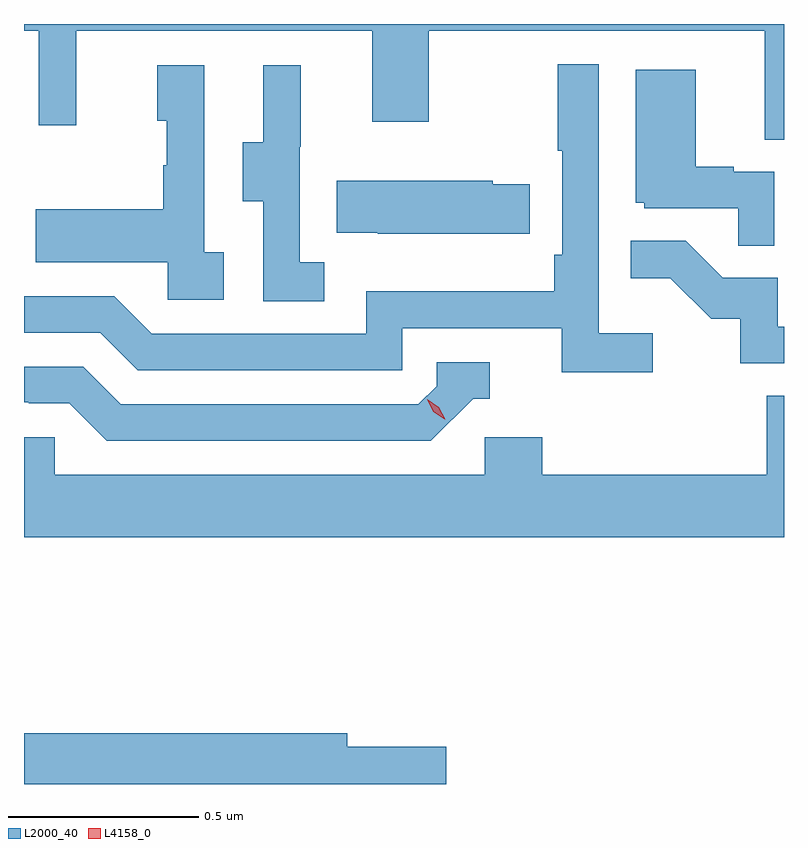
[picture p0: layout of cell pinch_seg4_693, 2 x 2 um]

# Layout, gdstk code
import gdstk
lib = gdstk.Library(unit=1e-6, precision=1e-09)
def P(c, l, *ps):  # polygons
    for p in ps: c.add(gdstk.Polygon(p, *l))
L2000_40 = (2000, 40)
L4158_0 = (4158, 0)

pinch_seg4_693 = lib.new_cell('pinch_seg4_693')
P(pinch_seg4_693, L2000_40, [(1110.344,763.538),(1108.344,763.538),(1108.344,763.52),(1108.383,763.52),(1108.383,763.272),(1108.481,763.272),(1108.481,763.52),(1109.261,763.52),(1109.261,763.281),(1109.409,763.281),(1109.409,763.52),(1110.293,763.52),(1110.293,763.234),(1110.344,763.234)],
  [(1109.998,762.724),(1109.856,762.724),(1109.856,763.432),(1109.748,763.432),(1109.748,763.204),(1109.76,763.204),(1109.76,762.931),(1109.74,762.931),(1109.74,762.835),(1109.244,762.835),(1109.244,762.723),(1108.68,762.723),(1108.581,762.822),(1108.344,762.822),(1108.344,762.726),(1108.544,762.726),(1108.643,762.627),(1109.34,762.627),(1109.34,762.738),(1109.759,762.738),(1109.759,762.622),(1109.998,762.622)],
  [(1108.87,762.938),(1108.818,762.938),(1108.818,763.429),(1108.694,763.429),(1108.694,763.284),(1108.72,763.284),(1108.72,763.166),(1108.71,763.166),(1108.71,763.051),(1108.375,763.051),(1108.375,762.911),(1108.722,762.911),(1108.722,762.813),(1108.87,762.813)],
  [(1109.134,762.911),(1109.07,762.911),(1109.07,763.215),(1109.072,763.215),(1109.072,763.429),(1108.973,763.429),(1108.973,763.227),(1108.919,763.227),(1108.919,763.072),(1108.974,763.072),(1108.974,762.808),(1109.134,762.808)],
  [(1110.318,763.149),(1110.212,763.149),(1110.212,763.162),(1110.112,763.162),(1110.112,763.417),(1109.954,763.417),(1109.954,763.068),(1109.976,763.068),(1109.976,763.053),(1110.223,763.053),(1110.223,762.955),(1110.318,762.955)],
  [(1109.675,763.116),(1109.577,763.116),(1109.577,763.126),(1109.167,763.126),(1109.167,762.989),(1109.275,762.989),(1109.275,762.986),(1109.675,762.986)],
  [(1110.344,762.741),(1110.327,762.741),(1110.327,762.87),(1110.183,762.87),(1110.085,762.968),(1109.941,762.968),(1109.941,762.869),(1110.045,762.869),(1110.152,762.762),(1110.229,762.762),(1110.229,762.645),(1110.344,762.645)],
  [(1109.526,762.552),(1109.569,762.552),(1109.569,762.648),(1109.43,762.648),(1109.43,762.585),(1109.382,762.537),(1108.599,762.537),(1108.5,762.636),(1108.344,762.636),(1108.344,762.543),(1108.356,762.543),(1108.356,762.54),(1108.463,762.54),(1108.562,762.441),(1109.415,762.441)],
  [(1110.344,762.56),(1110.299,762.56),(1110.299,762.352),(1109.708,762.352),(1109.708,762.45),(1109.556,762.45),(1109.556,762.352),(1108.425,762.352),(1108.425,762.45),(1108.344,762.45),(1108.344,762.188),(1110.344,762.188)],
  [(1109.455,761.636),(1109.194,761.636),(1109.194,761.672),(1108.344,761.672),(1108.344,761.538),(1109.455,761.538)])
P(pinch_seg4_693, L4158_0, [(1109.451,762.498),(1109.421,762.517),(1109.405,762.55),(1109.405,762.55),(1109.405,762.55),(1109.436,762.53),(1109.452,762.498),(1109.452,762.498)])

lib.write_gds('pinch_seg4_693.gds')
